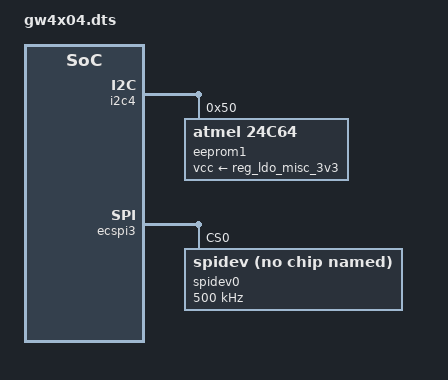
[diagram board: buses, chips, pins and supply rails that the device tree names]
/dts-v1/;
/plugin/;

&i2c4 {
	#address-cells = <1>;
	#size-cells = <0>;

	eeprom1: eeprom@50 {
		compatible = "atmel,24c64";
		reg = <0x50>;
		pagesize = <32>;
		vcc-supply = <&reg_ldo_misc_3v3>;
	};
};
/*
&iomuxc {
	pinctrl_uart2: uart2grp {
		fsl,pins = <
			0x00b4 0x0324 0x06fc 0x4 0x0		0x79
			0x00b8 0x0328 0x0000 0x4 0x0		0x79
		>;
	};
};
*/
/* Maxlinear SP483 RS-485 transceiver */
/*
&uart2 {
	pinctrl-names = "default";
	pinctrl-0 = <&pinctrl_uart2>;
	rts-gpios = <&gpio3 3 0>;
	linux,rs485-enabled-at-boot-time;
	status = "okay";
};
*/
&ecspi3 {
	#address-cells = <1>;
	#size-cells = <0>;

	status = "okay";

	spidev0: spidev@0{
		compatible = "linux,spidev";
		reg = <0>;      /* CE0 */
		#address-cells = <1>;
		#size-cells = <0>;
		spi-max-frequency = <500000>;
	};
};
